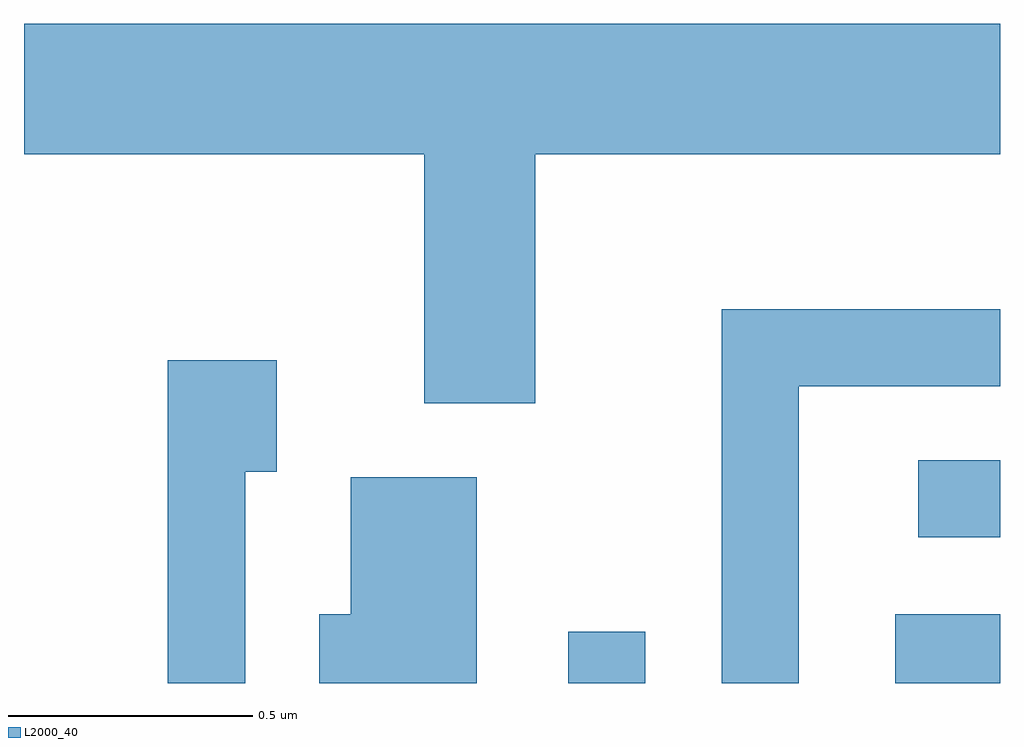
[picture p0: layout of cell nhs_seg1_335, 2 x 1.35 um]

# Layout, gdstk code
import gdstk
lib = gdstk.Library(unit=1e-6, precision=1e-09)
def R(c, l, rs):  # rectangles x0, y0, x1, y1
    for r in rs: c.add(gdstk.rectangle(r[:2], r[2:], *l))
def P(c, l, *ps):  # polygons
    for p in ps: c.add(gdstk.Polygon(p, *l))
L2000_40 = (2000, 40)

nhs_seg1_335 = lib.new_cell('nhs_seg1_335')
R(nhs_seg1_335, L2000_40, [(188.726,900.712,188.884,900.818), (189.396,900.712,189.611,900.854), (189.443,901.011,189.611,901.169)])
P(nhs_seg1_335, L2000_40, [(188.659,901.796),(189.611,901.796),(189.611,902.064),(187.611,902.064),(187.611,901.796),(188.431,901.796),(188.431,901.286),(188.659,901.286)],
  [(189.199,901.321),(189.611,901.321),(189.611,901.479),(189.041,901.479),(189.041,900.712),(189.199,900.712)],
  [(188.064,901.146),(188.129,901.146),(188.129,901.374),(187.906,901.374),(187.906,900.712),(188.064,900.712)],
  [(188.539,901.134),(188.281,901.134),(188.281,900.854),(188.216,900.854),(188.216,900.712),(188.539,900.712)])

lib.write_gds('nhs_seg1_335.gds')
